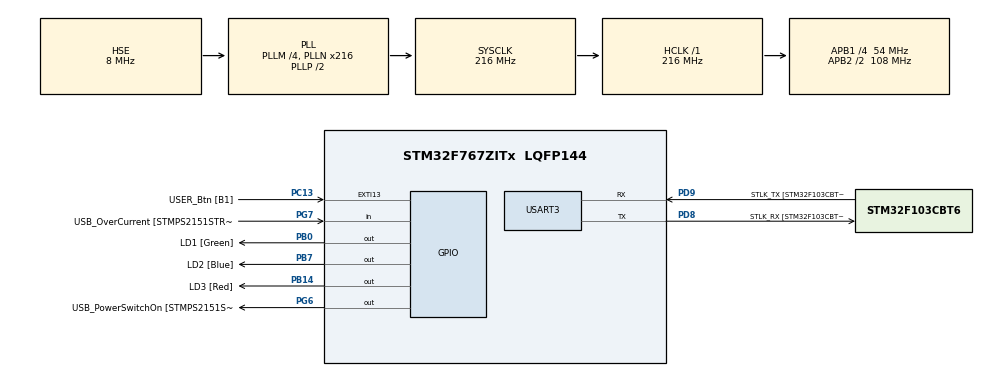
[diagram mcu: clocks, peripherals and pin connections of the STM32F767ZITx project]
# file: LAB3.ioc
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Mcu.Family=STM32F7
RCC.CortexFreq_Value=216000000
PG6.Signal=GPIO_Output
PB14.GPIO_Label=LD3 [Red]
PG6.GPIO_Label=USB_PowerSwitchOn [STMPS2151STR_EN]
PA14.GPIO_Label=TCK
RCC.SYSCLKSourceVirtual=RCC_SYSCLKSOURCE_PLLCLK
PB0.GPIO_Label=LD1 [Green]
PC14/OSC32_IN.Mode=LSE-External-Oscillator
PC13.GPIO_Label=USER_Btn [B1]
PB13.GPIO_Label=RMII_TXD1 [LAN8742A-CZ-TR_TXD1]
PB13.Signal=ETH_TXD1
PG13.Signal=ETH_TXD0
PD9.Mode=Asynchronous
PG11.Signal=ETH_TX_EN
RCC.SYSCLKSource=RCC_SYSCLKSOURCE_PLLCLK
ProjectManager.StackSize=0x400
VP_FREERTOS_VS_CMSIS_V2.Mode=CMSIS_V2
USART3.VirtualMode-Asynchronous=VM_ASYNC
PA12.Signal=USB_OTG_FS_DP
PH0/OSC_IN.Mode=HSE-External-Clock-Source
RCC.HCLKFreq_Value=216000000
RCC.APB2TimFreq_Value=216000000
PH1/OSC_OUT.Signal=RCC_OSC_OUT
PD8.Signal=USART3_TX
RCC.AHBFreq_Value=216000000
NVIC.EXTI15_10_IRQn=true\:5\:0\:false\:false\:true\:true\:true\:true
RCC.HSE_VALUE=8000000
NVIC.TIM8_TRG_COM_TIM14_IRQn=true\:0\:0\:false\:false\:true\:false\:false\:true
RCC.PLLMUL=RCC_PLL_MUL9
PC4.GPIO_Label=RMII_RXD0 [LAN8742A-CZ-TR_RXD0]
PA14.Mode=Serial_Wire
PA10.GPIO_Label=USB_ID
PB7.Signal=GPIO_Output
PA8.Signal=USB_OTG_FS_SOF
VP_SYS_VS_tim14.Mode=TIM14
PH1/OSC_OUT.Mode=HSE-External-Clock-Source
PB7.GPIO_Label=LD2 [Blue]
Mcu.Package=LQFP144
NVIC.TimeBase=TIM8_TRG_COM_TIM14_IRQn
PC14/OSC32_IN.Signal=RCC_OSC32_IN
PA2.GPIO_Label=RMII_MDIO [LAN8742A-CZ-TR_MDIO]
NVIC.TimeBaseIP=TIM14
PA10.Signal=USB_OTG_FS_ID
RCC.APB2CLKDivider=RCC_HCLK_DIV2
RCC.APB1TimFreq_Value=108000000
PG11.GPIO_Label=RMII_TX_EN [LAN8742A-CZ-TR_TXEN]
PC5.Signal=ETH_RXD1
PB3.GPIO_Label=SWO
RCC.PLLSourceVirtual=RCC_PLLSOURCE_HSE
FREERTOS.Tasks01=defaultTask,24,128,StartDefaultTask,Default,NULL,Dynamic,NULL,NULL;myTask02,8,128,StartTask02,Default,NULL,Dynamic,NULL,NULL
PG7.Signal=GPIO_Input
PD9.GPIO_Label=STLK_TX [STM32F103CBT6_PA2]
PC13.Signal=GPXTI13
PA9.GPIO_Label=USB_VBUS
PC4.Signal=ETH_RXD0
PA11.GPIO_Label=USB_DM
PD9.Signal=USART3_RX
RCC.APB1CLKDivider=RCC_HCLK_DIV4
PG13.GPIO_Label=RMII_TXD0 [LAN8742A-CZ-TR_TXD0]
PA12.GPIO_Label=USB_DP
PD8.GPIO_Label=STLK_RX [STM32F103CBT6_PA3]
PA13.Signal=SYS_JTMS-SWDIO
PA8.GPIO_Label=USB_SOF [TP1]
ProjectManager.TargetToolchain=STM32CubeIDE
PA9.Signal=USB_OTG_FS_VBUS
RCC.USBFreq_Value=48000000
PD8.Mode=Asynchronous
PA1.Signal=ETH_REF_CLK
PB14.Signal=GPIO_Output
board=NUCLEO-F767ZI
RCC.VCOOutputFreq_Value=432000000
PH0/OSC_IN.Signal=RCC_OSC_IN
RCC.APB2Freq_Value=108000000
RCC.PRESCALERUSB=RCC_USBCLKSOURCE_PLL_DIV1_5
PG7.GPIO_Label=USB_OverCurrent [STMPS2151STR_FAULT]
PA1.GPIO_Label=RMII_REF_CLK [LAN8742A-CZ-TR_REFCLK0]
PC1.GPIO_Label=RMII_MDC [LAN8742A-CZ-TR_MDC]
PA13.Mode=Serial_Wire
Mcu.Name=STM32F767ZITx
PA2.Signal=ETH_MDIO
PA13.GPIO_Label=TMS
RCC.48MHZClocksFreq_Value=24000000
PB3.Signal=SYS_JTDO-SWO
RCC.SYSCLKFreq_VALUE=216000000
PA7.GPIO_Label=RMII_CRS_DV [LAN8742A-CZ-TR_CRS_DV]
PC5.GPIO_Label=RMII_RXD1 [LAN8742A-CZ-TR_RXD1]
PC15/OSC32_OUT.Mode=LSE-External-Oscillator
PA11.Signal=USB_OTG_FS_DM
PA14.Signal=SYS_JTCK-SWCLK
ProjectManager.HeapSize=0x200
RCC.HSI_VALUE=16000000
PH0/OSC_IN.GPIO_Label=MCO [STM32F103CBT6_PA8]
FREERTOS.Mutexes01=myMutex01,Dynamic,NULL
RCC.PLLQ=9
NVIC.PriorityGroup=NVIC_PRIORITYGROUP_4
RCC.PLLM=4
RCC.PLLN=216
PC15/OSC32_OUT.Signal=RCC_OSC32_OUT
RCC.APB1Freq_Value=54000000
PB0.Signal=GPIO_Output
PC1.Signal=ETH_MDC
PA7.Signal=ETH_CRS_DV

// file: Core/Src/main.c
/* USER CODE BEGIN Header */
/**
  ******************************************************************************
  * @file           : main.c
  * @brief          : Main program body
  ******************************************************************************
  * @attention
  *
  * <h2><center>&copy; Copyright (c) 2021 STMicroelectronics.
  * All rights reserved.</center></h2>
  *
  * This software component is licensed by ST under BSD 3-Clause license,
  * the "License"; You may not use this file except in compliance with the
  * License. You may obtain a copy of the License at:
  *                        opensource.org/licenses/BSD-3-Clause
  *
  ******************************************************************************
  */
/* USER CODE END Header */
#include "main.h"
#include "cmsis_os.h"
#include "usart.h"
#include "gpio.h"

void SystemClock_Config(void);
void MX_FREERTOS_Init(void);

int main(void)
{

  /* MCU Configuration--------------------------------------------------------*/

  /* Reset of all peripherals, Initializes the Flash interface and the Systick. */
  HAL_Init();

  /* Configure the system clock */
  SystemClock_Config();

  /* Initialize all configured peripherals */
  MX_GPIO_Init();
  MX_USART3_UART_Init();

  /* Init scheduler */
  osKernelInitialize();  /* Call init function for freertos objects (in freertos.c) */
  MX_FREERTOS_Init();
  /* Start scheduler */
  osKernelStart();

  /* We should never get here as control is now taken by the scheduler */
  /* Infinite loop */
  while (1)
  {

  }
}

void SystemClock_Config(void)
{
  RCC_OscInitTypeDef RCC_OscInitStruct = {0};
  RCC_ClkInitTypeDef RCC_ClkInitStruct = {0};
  RCC_PeriphCLKInitTypeDef PeriphClkInitStruct = {0};

  /** Configure LSE Drive Capability
  */
  HAL_PWR_EnableBkUpAccess();
  /** Configure the main internal regulator output voltage
  */
  __HAL_RCC_PWR_CLK_ENABLE();
  __HAL_PWR_VOLTAGESCALING_CONFIG(PWR_REGULATOR_VOLTAGE_SCALE1);
  /** Initializes the RCC Oscillators according to the specified parameters
  * in the RCC_OscInitTypeDef structure.
  */
  RCC_OscInitStruct.OscillatorType = RCC_OSCILLATORTYPE_HSE;
  RCC_OscInitStruct.HSEState = RCC_HSE_BYPASS;
  RCC_OscInitStruct.PLL.PLLState = RCC_PLL_ON;
  RCC_OscInitStruct.PLL.PLLSource = RCC_PLLSOURCE_HSE;
  RCC_OscInitStruct.PLL.PLLM = 4;
  RCC_OscInitStruct.PLL.PLLN = 216;
  RCC_OscInitStruct.PLL.PLLP = RCC_PLLP_DIV2;
  RCC_OscInitStruct.PLL.PLLQ = 9;
  if (HAL_RCC_OscConfig(&RCC_OscInitStruct) != HAL_OK)
  {
    Error_Handler();
  }
  /** Activate the Over-Drive mode
  */
  if (HAL_PWREx_EnableOverDrive() != HAL_OK)
  {
    Error_Handler();
  }
  /** Initializes the CPU, AHB and APB buses clocks
  */
  RCC_ClkInitStruct.ClockType = RCC_CLOCKTYPE_HCLK|RCC_CLOCKTYPE_SYSCLK
                              |RCC_CLOCKTYPE_PCLK1|RCC_CLOCKTYPE_PCLK2;
  RCC_ClkInitStruct.SYSCLKSource = RCC_SYSCLKSOURCE_PLLCLK;
  RCC_ClkInitStruct.AHBCLKDivider = RCC_SYSCLK_DIV1;
  RCC_ClkInitStruct.APB1CLKDivider = RCC_HCLK_DIV4;
  RCC_ClkInitStruct.APB2CLKDivider = RCC_HCLK_DIV2;

  if (HAL_RCC_ClockConfig(&RCC_ClkInitStruct, FLASH_LATENCY_7) != HAL_OK)
  {
    Error_Handler();
  }
  PeriphClkInitStruct.PeriphClockSelection = RCC_PERIPHCLK_USART3;
  PeriphClkInitStruct.Usart3ClockSelection = RCC_USART3CLKSOURCE_PCLK1;
  if (HAL_RCCEx_PeriphCLKConfig(&PeriphClkInitStruct) != HAL_OK)
  {
    Error_Handler();
  }
}

 /**
  * @brief  Period elapsed callback in non blocking mode
  * @note   This function is called  when TIM14 interrupt took place, inside
  * HAL_TIM_IRQHandler(). It makes a direct call to HAL_IncTick() to increment
  * a global variable "uwTick" used as application time base.
  * @param  htim : TIM handle
  * @retval None
  */
void HAL_TIM_PeriodElapsedCallback(TIM_HandleTypeDef *htim)
{
  if (htim->Instance == TIM14) {
    HAL_IncTick();
  }
}

void Error_Handler(void)
{
  __disable_irq();
  while (1)
  {
  }
}

/************************ (C) COPYRIGHT STMicroelectronics *****END OF FILE****/

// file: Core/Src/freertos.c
/* USER CODE BEGIN Header */
/**
  ******************************************************************************
  * File Name          : freertos.c
  * Description        : Code for freertos applications
  ******************************************************************************
  * @attention
  *
  * <h2><center>&copy; Copyright (c) 2021 STMicroelectronics.
  * All rights reserved.</center></h2>
  *
  * This software component is licensed by ST under Ultimate Liberty license
  * SLA0044, the "License"; You may not use this file except in compliance with
  * the License. You may obtain a copy of the License at:
  *                             www.st.com/SLA0044
  *
  ******************************************************************************
  */
/* USER CODE END Header */

#include "FreeRTOS.h"
#include "task.h"
#include "main.h"
#include "cmsis_os.h"

/* USER CODE BEGIN Includes */
#include "stdio.h"

/* USER CODE END Includes */

/* USER CODE BEGIN Variables */
extern UART_HandleTypeDef huart3;

/* USER CODE END Variables */
/* Definitions for defaultTask */
osThreadId_t defaultTaskHandle;
const osThreadAttr_t defaultTask_attributes = {
  .name = "defaultTask",
  .stack_size = 2048,
  .priority = (osPriority_t) osPriorityNormal,
};
/* Definitions for myTask02 */
osThreadId_t myTask02Handle;
const osThreadAttr_t myTask02_attributes = {
  .name = "myTask02",
  .stack_size = 2048,
  .priority = (osPriority_t) osPriorityLow,
};
/* Definitions for myMutex01 */
osMutexId_t myMutex01Handle;
const osMutexAttr_t myMutex01_attributes = {
  .name = "myMutex01"
};

/* USER CODE BEGIN FunctionPrototypes */

#ifdef __GNUC__
/* With GCC/RAISONANCE, small printf (option LD Linker->Libraries->Small printf
   set to 'Yes') calls __io_putchar() */
#define PUTCHAR_PROTOTYPE int __io_putchar(int ch)
#else
#define PUTCHAR_PROTOTYPE int fputc(int ch, FILE *f)
#endif /* __GNUC__ */

/**
  * @brief  Retargets the C library printf function to the USART.
  * @param  None
  * @retval None
  */
PUTCHAR_PROTOTYPE
{
  /* Place your implementation of fputc here */
  /* e.g. write a character to the EVAL_COM1 and Loop until the end of transmission */
  HAL_UART_Transmit(&huart3, (uint8_t *)&ch, 1, 0xFFFF);
  while (HAL_UART_GetState(&huart3) != HAL_UART_STATE_READY);
  osDelay(1);

  return ch;
}

void notify(const char *name, int state)
{
	//no mutex, printf text will be mixed....
    osMutexWait(myMutex01Handle, osWaitForever);
    printf("%s: %d\r\n", name, state);
    osMutexRelease(myMutex01Handle);
}

/* USER CODE END FunctionPrototypes */

void StartDefaultTask(void *argument);
void StartTask02(void *argument);

void MX_FREERTOS_Init(void); /* (MISRA C 2004 rule 8.1) */

void MX_FREERTOS_Init(void) {
  /* Create the mutex(es) */
  /* creation of myMutex01 */
  myMutex01Handle = osMutexNew(&myMutex01_attributes);

  /* Create the thread(s) */
  /* creation of defaultTask */
  defaultTaskHandle = osThreadNew(StartDefaultTask, NULL, &defaultTask_attributes);

  /* creation of myTask02 */
  myTask02Handle = osThreadNew(StartTask02, NULL, &myTask02_attributes);

}

void StartDefaultTask(void *argument)
{
  /* USER CODE BEGIN StartDefaultTask */

  /* Infinite loop */
  for(;;)
  {
	    notify("Task1", 0); osDelay(1000);
	    notify("Task1", 1); osDelay(1000);
  }
  /* USER CODE END StartDefaultTask */
}

void StartTask02(void *argument)
{
  /* USER CODE BEGIN StartTask02 */
  /* Infinite loop */
  for(;;)
  {
	    notify("Task2", 0); osDelay(1000);
	    notify("Task2", 1); osDelay(1000);
  }
  /* USER CODE END StartTask02 */
}

/************************ (C) COPYRIGHT STMicroelectronics *****END OF FILE****/
